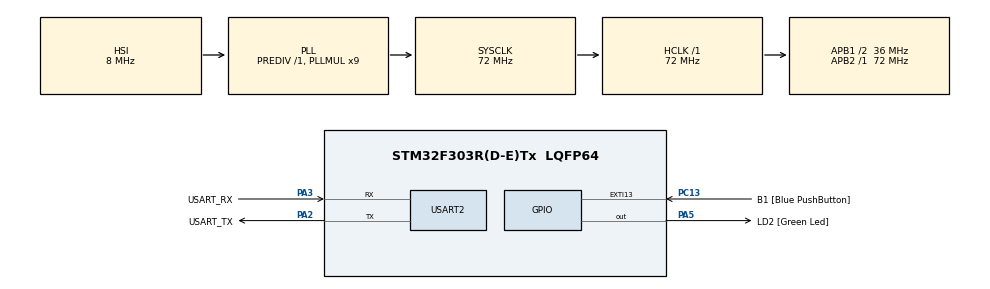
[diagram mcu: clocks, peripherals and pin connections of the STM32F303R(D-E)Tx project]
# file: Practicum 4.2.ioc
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Mcu.Family=STM32F3
Mcu.Name=STM32F303R(D-E)Tx
Mcu.Package=LQFP64
NVIC.PriorityGroup=NVIC_PRIORITYGROUP_0
PA13.GPIO_Label=TMS
PA13.Mode=Serial_Wire
PA13.Signal=SYS_JTMS-SWDIO
PA14.GPIO_Label=TCK
PA14.Mode=Serial_Wire
PA14.Signal=SYS_JTCK-SWCLK
PA2.GPIO_Label=USART_TX
PA2.GPIO_Mode=GPIO_MODE_AF_PP
PA2.GPIO_PuPd=GPIO_NOPULL
PA2.GPIO_Speed=GPIO_SPEED_FREQ_LOW
PA2.Mode=Asynchronous
PA2.Signal=USART2_TX
PA3.GPIO_Label=USART_RX
PA3.GPIO_Mode=GPIO_MODE_AF_PP
PA3.GPIO_PuPd=GPIO_NOPULL
PA3.GPIO_Speed=GPIO_SPEED_FREQ_LOW
PA3.Mode=Asynchronous
PA3.Signal=USART2_RX
PA5.GPIO_Label=LD2 [Green Led]
PA5.GPIO_Mode=GPIO_MODE_OUTPUT_PP
PA5.GPIO_PuPd=GPIO_NOPULL
PA5.GPIO_Speed=GPIO_SPEED_FREQ_LOW
PA5.Signal=GPIO_Output
PB3.GPIO_Label=SWO
PB3.Signal=SYS_JTDO-TRACESWO
PC13.GPIO_Label=B1 [Blue PushButton]
PC13.GPIO_ModeDefaultEXTI=GPIO_MODE_IT_FALLING
PC13.Signal=GPXTI13
PC14-OSC32_IN.Mode=LSE-External-Oscillator
PC14-OSC32_IN.Signal=RCC_OSC32_IN
PC15-OSC32_OUT.Mode=LSE-External-Oscillator
PC15-OSC32_OUT.Signal=RCC_OSC32_OUT
PF0-OSC_IN.Mode=HSE-External-Clock-Source
PF0-OSC_IN.Signal=RCC_OSC_IN
PF1-OSC_OUT.Signal=RCC_OSC_OUT
ProjectManager.HeapSize=0x200
ProjectManager.StackSize=0x400
ProjectManager.TargetToolchain=STM32CubeIDE
RCC.AHBFreq_Value=72000000
RCC.APB1CLKDivider=RCC_HCLK_DIV2
RCC.APB1Freq_Value=36000000
RCC.APB1TimFreq_Value=72000000
RCC.APB2Freq_Value=72000000
RCC.APB2TimFreq_Value=72000000
RCC.CortexFreq_Value=72000000
RCC.HCLKFreq_Value=72000000
RCC.HSE_VALUE=8000000
RCC.HSI_VALUE=8000000
RCC.PLLM=8
RCC.PLLMUL=RCC_PLL_MUL9
RCC.PLLN=336
RCC.PLLP=RCC_PLLP_DIV4
RCC.PLLQ=7
RCC.RCC_PLLsource_Clock_Source_FROM_HSE=RCC_HSE_PREDIV_DIV2
RCC.SYSCLKFreq_VALUE=72000000
RCC.SYSCLKSourceVirtual=RCC_SYSCLKSOURCE_PLLCLK
RCC.USBFreq_Value=72000000
USART2.VirtualMode-Asynchronous=VM_ASYNC
board=NUCLEO-F303RE

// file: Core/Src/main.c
/* USER CODE BEGIN Header */
/**
  ******************************************************************************
  * @file           : main.c
  * @brief          : Main program body
  ******************************************************************************
  * @attention
  *
  * Copyright (c) 2026 STMicroelectronics.
  * All rights reserved.
  *
  * This software is licensed under terms that can be found in the LICENSE file
  * in the root directory of this software component.
  * If no LICENSE file comes with this software, it is provided AS-IS.
  *
  ******************************************************************************
  */
/* USER CODE END Header */
#include "main.h"

/* USER CODE BEGIN Includes */
#include <string.h>
#include <stdlib.h>
/* USER CODE END Includes */

UART_HandleTypeDef huart2;

/* USER CODE BEGIN PV */
char rx_buffer[10];
int i = 0;
uint8_t c;
/* USER CODE END PV */

void SystemClock_Config(void);
static void MX_GPIO_Init(void);
static void MX_USART2_UART_Init(void);

int main(void)
{

  /* MCU Configuration--------------------------------------------------------*/

  /* Reset of all peripherals, Initializes the Flash interface and the Systick. */
  HAL_Init();

  /* Configure the system clock */
  SystemClock_Config();

  /* Initialize all configured peripherals */
  MX_GPIO_Init();
  MX_USART2_UART_Init();

  /* Infinite loop */
  while (1)
  {

    /* USER CODE BEGIN 3 */
	  HAL_UART_Receive(&huart2, &c, 1, HAL_MAX_DELAY);

	     if(c == '\r' || c == '\n')
	     {
	         rx_buffer[i] = '\0'; /*Representeert het NULL karakter, stopt de string waar het wordt geplaatst */
	         int waarde = atoi(rx_buffer);

	         for(int j=0; j<waarde; j++)
	         {
	             HAL_GPIO_WritePin(LD2_GPIO_Port, LD2_Pin, GPIO_PIN_SET);
	             HAL_Delay(200);
	             HAL_GPIO_WritePin(LD2_GPIO_Port, LD2_Pin, GPIO_PIN_RESET);
	             HAL_Delay(200);
	         }

	         i = 0;
	     }
	     else
	     {
	         rx_buffer[i++] = c;
	         if(i >= sizeof(rx_buffer)) i = sizeof(rx_buffer)-1;
	     }
  }
  /* USER CODE END 3 */
}

void SystemClock_Config(void)
{
  RCC_OscInitTypeDef RCC_OscInitStruct = {0};
  RCC_ClkInitTypeDef RCC_ClkInitStruct = {0};
  RCC_PeriphCLKInitTypeDef PeriphClkInit = {0};

  /** Initializes the RCC Oscillators according to the specified parameters
  * in the RCC_OscInitTypeDef structure.
  */
  RCC_OscInitStruct.OscillatorType = RCC_OSCILLATORTYPE_HSI;
  RCC_OscInitStruct.HSIState = RCC_HSI_ON;
  RCC_OscInitStruct.HSICalibrationValue = RCC_HSICALIBRATION_DEFAULT;
  RCC_OscInitStruct.PLL.PLLState = RCC_PLL_ON;
  RCC_OscInitStruct.PLL.PLLSource = RCC_PLLSOURCE_HSI;
  RCC_OscInitStruct.PLL.PLLMUL = RCC_PLL_MUL9;
  RCC_OscInitStruct.PLL.PREDIV = RCC_PREDIV_DIV1;
  if (HAL_RCC_OscConfig(&RCC_OscInitStruct) != HAL_OK)
  {
    Error_Handler();
  }

  /** Initializes the CPU, AHB and APB buses clocks
  */
  RCC_ClkInitStruct.ClockType = RCC_CLOCKTYPE_HCLK|RCC_CLOCKTYPE_SYSCLK
                              |RCC_CLOCKTYPE_PCLK1|RCC_CLOCKTYPE_PCLK2;
  RCC_ClkInitStruct.SYSCLKSource = RCC_SYSCLKSOURCE_PLLCLK;
  RCC_ClkInitStruct.AHBCLKDivider = RCC_SYSCLK_DIV1;
  RCC_ClkInitStruct.APB1CLKDivider = RCC_HCLK_DIV2;
  RCC_ClkInitStruct.APB2CLKDivider = RCC_HCLK_DIV1;

  if (HAL_RCC_ClockConfig(&RCC_ClkInitStruct, FLASH_LATENCY_2) != HAL_OK)
  {
    Error_Handler();
  }
  PeriphClkInit.PeriphClockSelection = RCC_PERIPHCLK_USART2;
  PeriphClkInit.Usart2ClockSelection = RCC_USART2CLKSOURCE_PCLK1;
  if (HAL_RCCEx_PeriphCLKConfig(&PeriphClkInit) != HAL_OK)
  {
    Error_Handler();
  }
}

static void MX_USART2_UART_Init(void)
{

  huart2.Instance = USART2;
  huart2.Init.BaudRate = 38400;
  huart2.Init.WordLength = UART_WORDLENGTH_8B;
  huart2.Init.StopBits = UART_STOPBITS_1;
  huart2.Init.Parity = UART_PARITY_NONE;
  huart2.Init.Mode = UART_MODE_TX_RX;
  huart2.Init.HwFlowCtl = UART_HWCONTROL_NONE;
  huart2.Init.OverSampling = UART_OVERSAMPLING_16;
  huart2.Init.OneBitSampling = UART_ONE_BIT_SAMPLE_DISABLE;
  huart2.AdvancedInit.AdvFeatureInit = UART_ADVFEATURE_NO_INIT;
  if (HAL_UART_Init(&huart2) != HAL_OK)
  {
    Error_Handler();
  }

}

static void MX_GPIO_Init(void)
{
  GPIO_InitTypeDef GPIO_InitStruct = {0};

  /* GPIO Ports Clock Enable */
  __HAL_RCC_GPIOC_CLK_ENABLE();
  __HAL_RCC_GPIOF_CLK_ENABLE();
  __HAL_RCC_GPIOA_CLK_ENABLE();
  __HAL_RCC_GPIOB_CLK_ENABLE();

  /*Configure GPIO pin Output Level */
  HAL_GPIO_WritePin(LD2_GPIO_Port, LD2_Pin, GPIO_PIN_RESET);

  /*Configure GPIO pin : B1_Pin */
  GPIO_InitStruct.Pin = B1_Pin;
  GPIO_InitStruct.Mode = GPIO_MODE_IT_FALLING;
  GPIO_InitStruct.Pull = GPIO_NOPULL;
  HAL_GPIO_Init(B1_GPIO_Port, &GPIO_InitStruct);

  /*Configure GPIO pin : LD2_Pin */
  GPIO_InitStruct.Pin = LD2_Pin;
  GPIO_InitStruct.Mode = GPIO_MODE_OUTPUT_PP;
  GPIO_InitStruct.Pull = GPIO_NOPULL;
  GPIO_InitStruct.Speed = GPIO_SPEED_FREQ_LOW;
  HAL_GPIO_Init(LD2_GPIO_Port, &GPIO_InitStruct);

}

void Error_Handler(void)
{
  __disable_irq();
  while (1)
  {
  }
}
